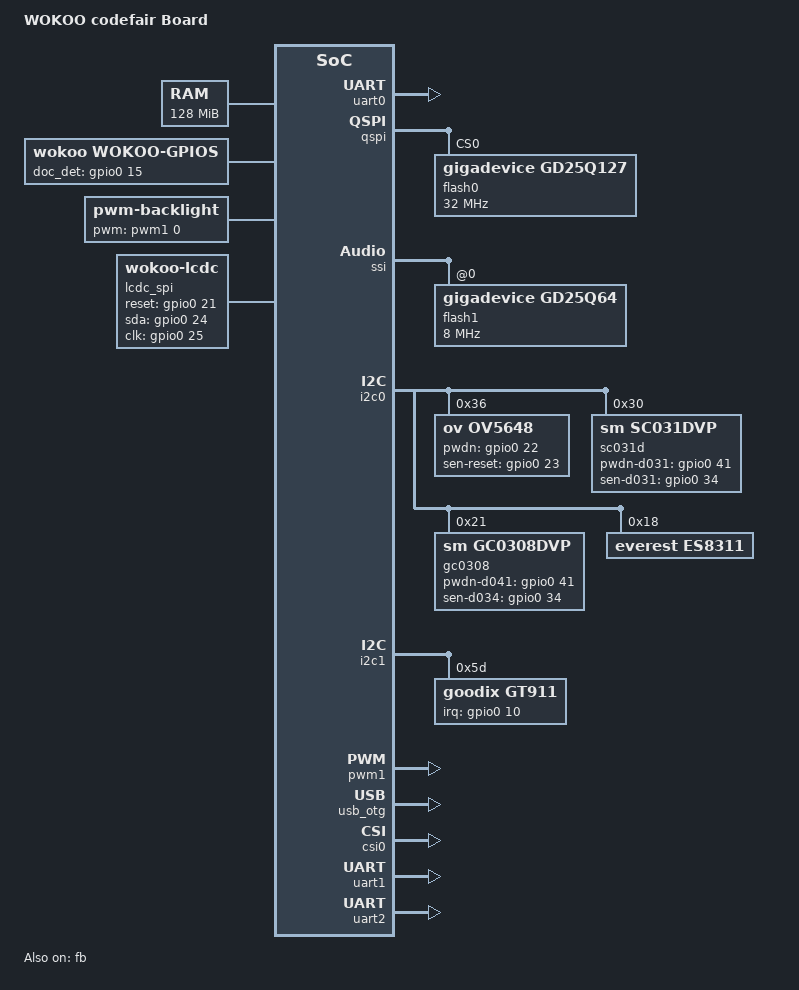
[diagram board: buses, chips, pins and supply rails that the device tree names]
/* SPDX-License-Identifier: GPL-2.0
 *
 * Copyright (c) 2020 Codefair Semiconductor Technology Co., Ltd.
 *		http://www.codefairsemi.com
 *
 */

/dts-v1/;

#include "wokoo.dtsi"

/ {
	model = "WOKOO codefair Board";
	compatible = "codefair,wokoo-codefair", "codefair,wokoo";

	chosen {
		stdout-path = &uart0;
	};

	memory {
		device_type = "memory";
		//reg = <0x00000000 0x02000000>;
                reg = <0x00000000 0x08000000>;    //128M ram
	};
	wokoo-gpios {
		compatible = "wokoo,wokoo-gpios";
		doc_det = <&gpio0 15 GPIO_ACTIVE_HIGH>;
		status = "okay";
	};

	sound {
		compatible = "simple-audio-card";
		simple-audio-card,format = "i2s";
		simple-audio-card,cpu {
			sound-dai = <&i2s0 0>;
		};

		simple-audio-card,codec {
			sound-dai = <&es8311>;
		};
	};
	
	
	backlight: backlight {
		compatible = "pwm-backlight";
		//enable-gpio = <&gpio0 21 GPIO_ACTIVE_HIGH>;
		//post-pwm-on-delay-ms = <20>;
		regulator-name = "power";
		regulator-always-on;
		pwms = <&pwm1 0 25000 0>;
		brightness-levels = <
			  0   1   2   3   4   5   6   7
			  8   9  10  11  12  13  14  15
			 16  17  18  19  20  21  22  23
			 24  25  26  27  28  29  30  31
			 32  33  34  35  36  37  38  39
			 40  41  42  43  44  45  46  47
			 48  49  50  51  52  53  54  55
			 56  57  58  59  60  61  62  63
			 64  65  66  67  68  69  70  71
			 72  73  74  75  76  77  78  79
			 80  81  82  83  84  85  86  87
			 88  89  90  91  92  93  94  95
			 96  97  98  99 100 101 102 103
			104 105 106 107 108 109 110 111
			112 113 114 115 116 117 118 119
			120 121 122 123 124 125 126 127
			128 129 130 131 132 133 134 135
			136 137 138 139 140 141 142 143
			144 145 146 147 148 149 150 151
			152 153 154 155 156 157 158 159
			160 161 162 163 164 165 166 167
			168 169 170 171 172 173 174 175
			176 177 178 179 180 181 182 183
			184 185 186 187 188 189 190 191
			192 193 194 195 196 197 198 199
			200 201 202 203 204 205 206 207
			208 209 210 211 212 213 214 215
			216 217 218 219 220 221 222 223
			224 225 226 227 228 229 230 231
			232 233 234 235 236 237 238 239
			240 241 242 243 244 245 246 247
			248 249 250 251 252 253 254 255>;
		default-brightness-level = <100>;
	};

	/*
	backlight:backlight {
		compatible = "wokoo-backlight";
		bl-gpios = <&gpio0 20 GPIO_ACTIVE_HIGH>;
		switch-gpios = <&gpio0 19 GPIO_ACTIVE_HIGH>;
		default-on;
	};
	*/

	lcdc_spi:lcdc_spi{
	    compatible = "wokoo-lcdc";
	    reset-gpios = <&gpio0 21 GPIO_ACTIVE_HIGH>;
		sda-gpios = <&gpio0 24 GPIO_ACTIVE_HIGH>;
		clk-gpios = <&gpio0 25 GPIO_ACTIVE_HIGH>;
		cs-gpios = <&gpio0 99 GPIO_ACTIVE_HIGH>;
		status = "okay";
	};
	
};

&uart0 {
	u-boot,dm-pre-reloc;
	pinctrl-names = "default";
	status = "okay";
};

&qspi {
	u-boot,dm-pre-reloc;
	pinctrl-names = "default";
	status = "okay";

	flash0: gd25q127@0 {
		compatible = "gigadevice,gd25q127", "jedec,spi-nor";
		spi-max-frequency = <32000000>;
		spi-rx-bus-width = <4>;
		spi-tx-bus-width = <4>;
		reg = <0x0>;
	};
};

&ssi {
	u-boot,dm-pre-reloc;
	pinctrl-names = "default";
	status = "okay";
	flash1: gd25q64@0 {
		compatible = "gigadevice,gd25q64", "jedec,spi-nor";
		spi-max-frequency = <8000000>;
		spi-rx-bus-width = <1>;
		spi-tx-bus-width = <1>;
		reg = <0>;
	};
};

&i2c0 {
	pinctrl-names = "default";
	status = "okay";
	//status = "disabled";
    mode = <0>;
	ov5648@36 {
		address-cells = <1>;
		size-cells = <0>;
		compatible = "ov,ov5648";
		reg = <0x36>;
		pinctrl-names = "default";
		pwdn-gpio = <&gpio0 22 GPIO_ACTIVE_HIGH>;
		sen-reset = <&gpio0 23 GPIO_ACTIVE_HIGH>;
		status = "okay";
	};
	sc031d@30 {
		compatible = "sm,sc031dvp";
		reg = <0x30>;
		pinctrl-names = "default";
		pwdn-d031 = <&gpio0 41 GPIO_ACTIVE_HIGH>;
		sen-d031 = <&gpio0 34 GPIO_ACTIVE_HIGH>;
		status = "okay";
	};
	gc0308@21 {
		compatible = "sm,gc0308dvp";
		reg = <0x21>;
		pinctrl-names = "default";
		pwdn-d041 = <&gpio0 41 GPIO_ACTIVE_HIGH>;
		sen-d034 = <&gpio0 34 GPIO_ACTIVE_HIGH>;
		function = "color";//black,color
		status = "okay";
	};
	sc031m@30 {
		compatible = "sm,sc031mipi";
		reg = <0x30>;
		pinctrl-names = "default";
		pwdn-gpio = <&gpio0 22 GPIO_ACTIVE_HIGH>;
		sen-reset = <&gpio0 23 GPIO_ACTIVE_HIGH>;
	    status = "disabled";
	};
	es8311: es8311@18 {
		compatible = "everest,es8311";
		#sound-dai-cells = <0>;
		reg = <0x18>;
	};
};

&i2c1{
    pinctrl-names = "default";
    status = "okay";
    mode = <1>;

    gt911@5d {
        pinctrl-names = "default";
        compatible = "goodix,gt911";
        reg = <0x5d>;
        //interrupt-parent = <&gpio0>;
        //interrupts = <GIC_SPI 18 IRQ_TYPE_LEVEL_HIGH>;
        irq-gpios = <&gpio0 10 GPIO_ACTIVE_HIGH>;
        //reset-gpios = <&gpio0 1 GPIO_ACTIVE_HIGH>;
        status = "okay";
        goodix,cfg-group0 = [
            56 20 03 E0 01 05 0C 00 01 0A 
            28 0F 50 32 03 05 00 00 00 00 
            00 00 08 17 19 1C 14 8A 2A 0C 
            2A 2C 31 0D 00 00 02 9A 02 2D 
            00 01 00 00 00 00 00 00 00 00 
            00 1E 3C 94 C5 02 07 00 00 04 
            80 20 00 80 25 00 80 2A 00 80 
            30 00 80 38 00 80 00 00 00 00 
            00 00 00 00 00 00 00 00 00 00 
            00 00 00 00 00 00 00 00 00 00 
            00 00 00 00 00 00 00 00 00 00 
            00 00 02 04 06 08 0A 0C 0E 10 
            12 14 16 18 FF FF 00 00 00 00 
            00 00 00 00 00 00 00 00 00 00 
            00 00 00 02 04 06 08 0A 0F 10 
            12 13 16 18 1C 1D 1E 1F 20 21 
            22 24 FF FF FF FF FF FF 00 00 
            00 00 00 00 00 00 00 00 00 00 
            00 00 00 00 89 01
            ];
        touchscreen-size-x = <800>;
        touchscreen-size-y = <480>;

    };
};

&pinctrl {
	pinctrl-names = "default";
	pinctrl-0 = <&gpio_0_27>,<&gpio_33_35>,<&gpio_39_42>;
	gpio_0_27: gpio_0_27 {
			function = "gpio";
			groups = "gpio_0_27_grp";

		conf-gpio15 { 
			pins = "gpio15";
			bias-pull-down;
		};
		
		conf-gpio18 { 
			pins = "gpio18";
			bias-pull-down;
		};
		

	};
	
	gpio_33_35: gpio_33_35 {
            function = "gpio";
            groups = "gpio_33_35_grp";
            conf-gpio34 { 
            pins = "mfio_34";
            bias-pull-down;
            //input-disable;
            };
        };
    gpio_39_42: gpio_39_42 {
            function = "gpio";
            groups = "gpio_39_42_grp";
            conf-gpio41 { 
             pins = "mfio_41";
             bias-pull-up;
            //input-disable;
            };
        };
	
};

&pwm0 {
	pinctrl-names = "default";
	status = "disabled";
};

&pwm1 {
	pinctrl-names = "default";
	status = "okay";
};
&usb_otg {
    status ="okay";
};

&csi0{
    status ="okay";
};

&uart1{
    status ="okay";
};
&uart2{
     status ="okay";
};
&fb {
    status = "okay";
    backlight = <&backlight>;
    bits-per-pixel = <32>;
	en_polar = <1>;
	dotclk_polar = <0>;
	display-timings {
		native-mode = <&timing0>;
		timing0: timing0{
			//clock-frequency = <32000000>;
			clock-frequency = <16000000>;
			hactive = <800>;
			vactive = <480>;
			//hfront-porch = <210>;
			hfront-porch = <60>;
			hback-porch = <46>;
			hsync-len = <4>;
			//vfront-porch = <100>;
			vfront-porch = <30>;
			vback-porch = <23>;
			vsync-len = <7>;
			hsync-active = <20>;
            vsync-active = <20>;
            //de-active = <1>;
            //pixelclk-active = <1>;
		};
	};
};

